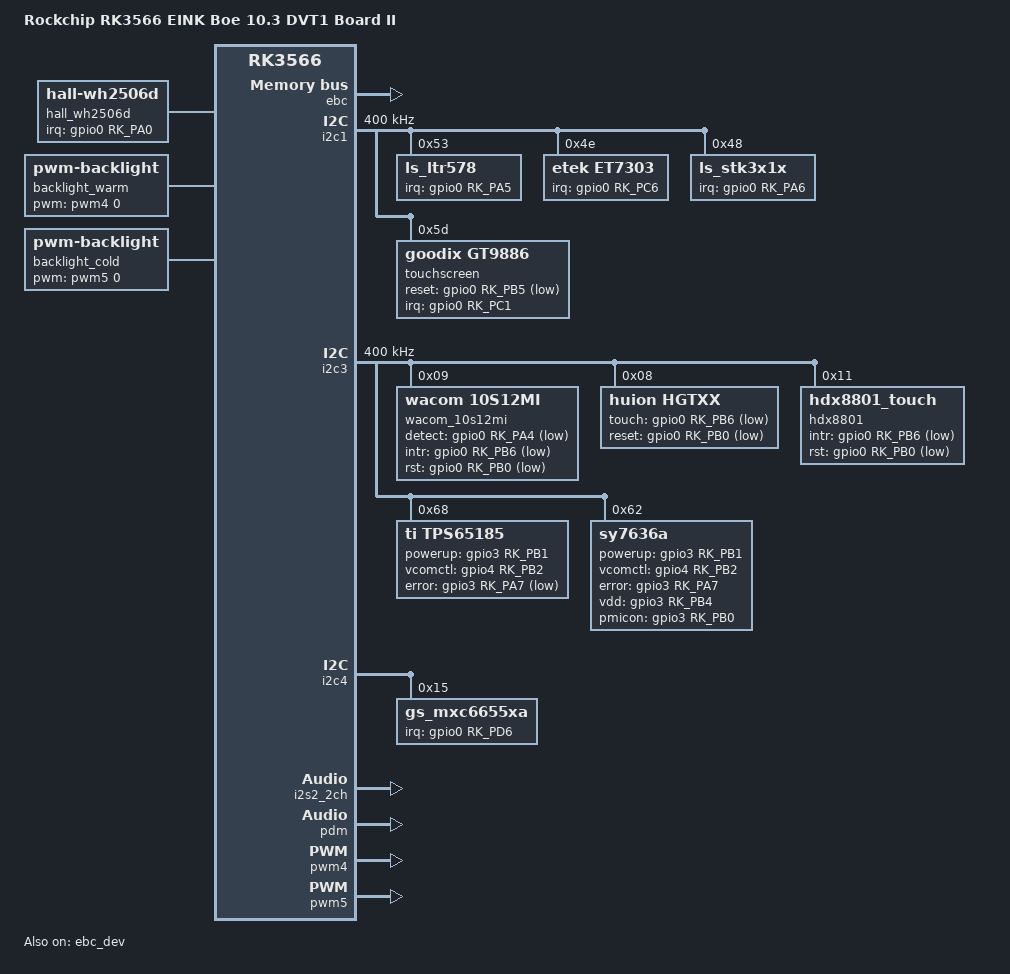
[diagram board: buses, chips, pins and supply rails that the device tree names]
// SPDX-License-Identifier: (GPL-2.0+ OR MIT)
/*
 * Lenovo SP101FU / Lenovo Smart Paper / Louvre candidate DTS.
 *
 * This source is derived from the live SP101FU FDT and the public Rockchip
 * rk3566-rk817-eink-w103 baseline. It deliberately excludes bootloader-injected
 * runtime state from /chosen, /memory, initrd, serial-number, and MAC-bearing
 * Android bootargs.
 */

#include "rk3566-rk817-eink-w103.dts"

/ {
	model = "Rockchip RK3566 EINK Boe 10.3 DVT1 Board II";
	compatible = "rockchip,rk3566-rk817-eink", "rockchip,rk3566";

	/delete-node/ backlight;
	/delete-node/ hall-mh248;
	/delete-node/ vcc-tp-regulator;

	charge-animation {
		rockchip,auto-wakeup-interval = <10>;
	};

	chosen {
		/delete-property/ bootargs;
	};

	adc-keys {
		status = "disabled";
	};

	gpio-leds {
		status = "okay";
		/delete-node/ led@2;

		led-r {
			gpios = <&gpio2 RK_PC0 GPIO_ACTIVE_HIGH>;
			linux,default-trigger = "battery-charging";
			label = "led_r";
			retain-state-suspended;
		};
	};

	hall_wh2506d: hall-wh2506d {
		status = "okay";
		compatible = "hall-wh2506d";
		pinctrl-names = "default";
		pinctrl-0 = <&hall_irq_gpio>;
		irq-gpio = <&gpio0 RK_PA0 IRQ_TYPE_EDGE_BOTH>;
		hall-active = <1>;
	};

	bt_sound: bt-sound {
		status = "okay";
		compatible = "simple-audio-card";
		simple-audio-card,format = "dsp_b";
		simple-audio-card,bitclock-inversion = <1>;
		simple-audio-card,mclk-fs = <256>;
		simple-audio-card,name = "rockchip,bt";

		simple-audio-card,cpu {
			sound-dai = <&i2s2_2ch>;
		};

		sound2_master: simple-audio-card,codec {
			sound-dai = <&bt_sco>;
		};
	};

	bt_sco: bt-sco {
		status = "okay";
		compatible = "delta,dfbmcs320";
		#sound-dai-cells = <0>;
	};

	pdm_mic_array: pdm-mic-array {
		status = "okay";
		compatible = "simple-audio-card";
		simple-audio-card,name = "rockchip,pdm-mic-array";

		simple-audio-card,cpu {
			sound-dai = <&pdm>;
		};

		simple-audio-card,codec {
			sound-dai = <&pdmics>;
		};
	};

	pdmics: dummy-codec {
		status = "okay";
		compatible = "rockchip,dummy-codec";
		#sound-dai-cells = <0>;
	};

	sdio-pwrseq {
		reset-gpios = <&gpio0 RK_PD3 GPIO_ACTIVE_LOW>;
	};

	wireless-wlan {
		rockchip,grf = <&grf>;
		/delete-property/ wifi_chip_type;
		pinctrl-0 = <&wifi_gpio>;
		WIFI,vbat_gpio = <&gpio0 RK_PD5 GPIO_ACTIVE_HIGH>;
		WIFI,host_wake_irq = <&gpio0 RK_PC5 GPIO_ACTIVE_HIGH>;
		status = "okay";
	};

	wireless-bluetooth {
		/delete-property/ wifi-bt-power-toggle;
		uart_rts_gpios = <&gpio2 RK_PB5 GPIO_ACTIVE_LOW>;
		pinctrl-0 = <&uart1m0_rtsn>,
			    <&bt_reset_gpio>,
			    <&bt_wake_gpio>,
			    <&bt_irq_gpio>;
		pinctrl-1 = <&uart1_gpios>;
		BT,reset_gpio = <&gpio0 RK_PC4 GPIO_ACTIVE_HIGH>;
		BT,wake_gpio = <&gpio0 RK_PD4 GPIO_ACTIVE_HIGH>;
		BT,wake_host_irq = <&gpio0 RK_PC3 GPIO_ACTIVE_HIGH>;
		status = "okay";
	};

	backlight_warm: backlight-warm {
		status = "okay";
		compatible = "pwm-backlight";
		pwms = <&pwm4 0 25000 0>;
		brightness-levels = <0 9 18 60 100 100 100 100 101 101 101 101 101 101 102 102 102 102 103 103 103 103 104 104 105 105 105 105 106 107 108 109 110 111 112 114 116 118 120 122 124 126 129 131 134 136 139 141 144 146 149 151 154 156 158 160 162 164 166 169 173 176 180 183 187 190 194 198 202 206 210 224 238 252 266 280 294 299 305 310 316 321 327 336 346 356 366 375 385 394 403 412 421 430 440 451 463 475 487 498 510 523 537 550 564 577 591 604 618 631 645 658 672 688 705 721 738 754 771 796 822 847 873 898 924 943 962 981 1000 1019 1038 1075 1113 1150 1188 1225 1263 1316 1370 1423 1477 1530 1584 1611 1639 1672 1695 1722 1750 1794 1839 1883 1927 1972 2016 2068 2120 2172 2224 2276 2328 2436 2545 2653 2761 2869 2978 3053 3129 3205 3281 3356 3432 3485 3539 3592 3646 3700 3754 3838 3922 4006 4091 4175 4260 4414 4568 4722 4876 5030 5184 5393 5603 5813 6023 6232 6442 6442>;
		default-brightness-level = <0>;
	};

	backlight_cold: backlight-cold {
		status = "okay";
		compatible = "pwm-backlight";
		pwms = <&pwm5 0 25000 0>;
		brightness-levels = <0 9 18 60 100 100 100 100 101 101 101 101 101 101 102 102 102 102 103 103 103 103 104 104 105 105 106 106 107 107 108 108 109 109 110 112 115 117 120 122 125 123 132 136 140 143 147 152 157 162 167 172 177 183 189 195 201 207 213 222 232 241 251 260 270 278 286 294 302 310 318 325 332 339 346 353 360 368 377 386 395 403 412 422 432 441 451 461 471 482 493 504 515 526 537 549 562 574 587 599 612 627 643 658 674 689 705 721 737 753 769 785 775 801 825 850 874 899 923 948 966 984 1002 1020 1038 1056 1086 1116 1146 1176 1206 1236 1270 1304 1341 1372 1406 1440 1475 1510 1545 1580 1615 1650 1678 1707 1735 1764 1792 1821 1870 1920 1969 2019 2068 2118 2159 2200 2241 2282 2323 2364 2452 2540 2628 2716 2804 2892 2955 3019 3083 3147 3210 3274 3343 3413 3482 3551 3620 3690 3762 3834 3906 3978 4050 4122 4254 4386 4518 4650 4782 4914 5090 5266 5442 5618 5794 5970 6216 6463 6709 6956 7202 7449 7674 7900 8125 8351 8576 8802 9101 9401 9701 10001 10300 10600 10600>;
		default-brightness-level = <0>;
	};
};

&ebc {
	assigned-clocks = <&cru CPLL_333M>, <&cru DCLK_EBC>;
	assigned-clock-rates = <34000000>, <34000000>;
	status = "okay";
};

&ebc_dev {
	pmic = <&sy7636a>;
	status = "okay";

	panel,width = <1872>;
	panel,height = <1404>;
	panel,vir_width = <1872>;
	panel,vir_height = <1404>;
	panel,sdck = <34000000>;
	panel,lsl = <18>;
	panel,lbl = <17>;
	panel,ldl = <234>;
	panel,lel = <15>;
	panel,gdck-sta = <34>;
	panel,lgonl = <192>;
	panel,fsl = <1>;
	panel,fbl = <4>;
	panel,fdl = <1404>;
	panel,fel = <1>;
	panel,mirror = <1>;
	panel,panel_16bit = <1>;
	panel,panel_color = <0>;
	panel,width-mm = <210>;
	panel,height-mm = <157>;
	panel,dpi = <220>;
	panel,vcom-mv = <1670>;
};

&i2c1 {
	status = "okay";
	clock-frequency = <400000>;
	/delete-node/ wacom@9;

	ls_ltr578: light@53 {
		status = "okay";
		compatible = "ls_ltr578";
		reg = <0x53>;
		type = <SENSOR_TYPE_LIGHT>;
		pinctrl-names = "default";
		pinctrl-0 = <&ltr578_irq_gpio>;
		irq-gpio = <&gpio0 RK_PA5 IRQ_TYPE_LEVEL_LOW>;
		irq_enable = <0>;
		poll_delay_ms = <100>;
		power-off-in-suspend = <1>;
	};

	aw9610x_sar: pressure@12 {
		status = "disabled";
		compatible = "awinic,aw9610x_sar";
		reg = <0x12>;
		pinctrl-names = "default";
		pinctrl-0 = <&aw9610x_irq_gpio>;
		irq-gpio = <&gpio0 RK_PC7 IRQ_TYPE_LEVEL_LOW>;
		aw9610x,using-firmware;
		channel_use_flag = <0x1f>;
		sar-num = <0>;
	};

	et7303: et7303@4e {
		status = "okay";
		compatible = "etek,et7303";
		reg = <0x4e>;
		interrupt-parent = <&gpio0>;
		interrupts = <RK_PC6 IRQ_TYPE_LEVEL_LOW>;
		pinctrl-names = "default";
		pinctrl-0 = <&et7303_int>;

		connector {
			data-role = "device";
			power-role = "sink";
			try-power-role = "sink";
			sink-pdos = <0x040190c8>;
			op-sink-microwatt = <10000000>;
		};
	};

	ls_stk3x1x: light@48 {
		status = "okay";
		compatible = "ls_stk3x1x";
		reg = <0x48>;
		type = <SENSOR_TYPE_LIGHT>;
		pinctrl-names = "default";
		pinctrl-0 = <&stk3x1x_irq_gpio>;
		irq-gpio = <&gpio0 RK_PA6 IRQ_TYPE_LEVEL_LOW>;
		irq_enable = <0>;
		als_threshold_high = <100>;
		als_threshold_low = <10>;
		als_ctrl_gain = <2>;
		poll_delay_ms = <150>;
		power-off-in-suspend = <1>;
	};

	touchscreen: goodix-gtx8@5d {
		compatible = "goodix,gt9886";
		reg = <0x5d>;
		status = "okay";
		pinctrl-names = "default";
		pinctrl-0 = <&tp_gpio>;
		goodix,reset-gpio = <&gpio0 RK_PB5 GPIO_ACTIVE_LOW>;
		goodix,irq-gpio = <&gpio0 RK_PC1 IRQ_TYPE_LEVEL_LOW>;
		goodix,irq-flags = <IRQ_TYPE_EDGE_FALLING>;
		goodix,panel-max-x = <1404>;
		goodix,panel-max-y = <1872>;
		goodix,panel-max-w = <255>;
		goodix,x2x;
		tp-support-wakeup;
	};
};

&i2c3 {
	status = "okay";
	clock-frequency = <400000>;
	pinctrl-names = "default";
	pinctrl-0 = <&i2c3m1_xfer>;

	wacom_10s12mi: wacom@9 {
		status = "okay";
		compatible = "wacom,10S12MI";
		reg = <0x09>;
		hid-descr-addr = <1>;
		pinctrl-names = "default";
		pinctrl-0 = <&emr_gpio>;
		gpio_detect = <&gpio0 RK_PA4 GPIO_ACTIVE_LOW>;
		gpio_intr = <&gpio0 RK_PB6 GPIO_ACTIVE_LOW>;
		gpio_rst = <&gpio0 RK_PB0 GPIO_ACTIVE_LOW>;
		revert_x = <1>;
		revert_y = <1>;
		xy_exchange = <0>;
		wacom-support-wakeup;
	};

	huion: huion@8 {
		status = "okay";
		compatible = "huion,hgtxx";
		reg = <0x08>;
		pinctrl-names = "default";
		pinctrl-0 = <&emr_gpio>;
		interrupt-parent = <&gpio0>;
		touch-gpio = <&gpio0 RK_PB6 GPIO_ACTIVE_LOW>;
		reset-gpio = <&gpio0 RK_PB0 GPIO_ACTIVE_LOW>;
		huion,tp-size = <101>;
		huion,max-x = <1404>;
		huion,max-y = <1872>;
		huion,configfile-num = <1>;
		revert_x = <1>;
		revert_y = <1>;
		xy_exchange = <0>;
	};

	hdx8801: hdx8801@11 {
		status = "okay";
		compatible = "hdx8801_touch";
		reg = <0x11>;
		pinctrl-names = "default";
		pinctrl-0 = <&emr_gpio>;
		gpio_intr = <&gpio0 RK_PB6 GPIO_ACTIVE_LOW>;
		gpio_rst = <&gpio0 RK_PB0 GPIO_ACTIVE_LOW>;
		revert_x = <0>;
		revert_y = <1>;
		xy_exchange = <0>;
	};

	tps65185@68 {
		status = "okay";
		compatible = "ti,tps65185";
		reg = <0x68>;
		pinctrl-names = "default";
		pinctrl-0 = <&tps65185_gpio>;
		/delete-property/ wakeup-gpios;
		/delete-property/ int-gpios;
		/delete-property/ poweren-gpios;
		powerup-gpios = <&gpio3 RK_PB1 GPIO_ACTIVE_HIGH>;
		vcomctl-gpios = <&gpio4 RK_PB2 GPIO_ACTIVE_HIGH>;
		error-gpios = <&gpio3 RK_PA7 GPIO_ACTIVE_LOW>;
	};

	sy7636a: sy7636a@62 {
		status = "okay";
		compatible = "sy7636a";
		reg = <0x62>;
		pinctrl-names = "default";
		pinctrl-0 = <&tps65185_gpio>;
		powerup-gpios = <&gpio3 RK_PB1 GPIO_ACTIVE_HIGH>;
		vcomctl-gpios = <&gpio4 RK_PB2 GPIO_ACTIVE_HIGH>;
		error-gpios = <&gpio3 RK_PA7 GPIO_ACTIVE_HIGH>;
		vdd-gpios = <&gpio3 RK_PB4 GPIO_ACTIVE_HIGH>;
		pmicon-gpios = <&gpio3 RK_PB0 GPIO_ACTIVE_HIGH>;
	};
};

&i2c4 {
	status = "okay";

	gs_mxc6655xa: gsensor@15 {
		status = "okay";
		compatible = "gs_mxc6655xa";
		reg = <0x15>;
		pinctrl-names = "default";
		pinctrl-0 = <&mxc6655xa_irq_gpio>;
		irq-gpio = <&gpio0 RK_PD6 IRQ_TYPE_LEVEL_LOW>;
		irq_enable = <0>;
		wakeup-source;
		poll_delay_ms = <20>;
		type = <SENSOR_TYPE_ACCEL>;
		power-off-in-suspend = <1>;
		layout = <8>;
	};
};

&i2c5 {
	status = "disabled";
	/delete-node/ sensor@4c;
	/delete-node/ tsc@24;
};

&spi2 {
	status = "disabled";
};

&csi2_dphy_hw {
	status = "disabled";
};

&csi2_dphy0 {
	status = "disabled";
};

&csi2_dphy1 {
	status = "disabled";
};

&csi2_dphy2 {
	status = "disabled";
};

&mipi_csi2 {
	status = "disabled";
};

&rkcif {
	status = "disabled";
};

&rkcif_mmu {
	status = "disabled";
};

&rkcif_dvp {
	status = "disabled";
};

&rkcif_dvp_sditf {
	status = "disabled";
};

&rkcif_mipi_lvds {
	status = "disabled";
};

&rkcif_mipi_lvds_sditf {
	status = "disabled";
};

&rkisp {
	status = "disabled";
};

&rkisp_mmu {
	status = "disabled";
};

&rkisp_vir0 {
	status = "disabled";
};

&rkisp_vir1 {
	status = "disabled";
};

&i2s2_2ch {
	status = "okay";
	rockchip,clk-trcm = <1>;
	pinctrl-names = "default";
	pinctrl-0 = <&i2s2m0_sclktx
		     &i2s2m0_lrcktx
		     &i2s2m0_sdi
		     &i2s2m0_sdo>;
};

&pdm {
	status = "okay";
	pinctrl-names = "default";
	pinctrl-0 = <&pdmm0_clk
		     &pdmm0_clk1
		     &pdmm0_sdi0
		     &pdmm0_sdi1>;
	rockchip,path-map = <1 0 2 3>;
};

&pinctrl {
	/delete-node/ tsc;
	/delete-node/ vcc-tp;

	tps_pmic {
		tps65185-gpio {
			rockchip,pins =
				<4 RK_PB2 RK_FUNC_GPIO &pcfg_pull_up>,
				<3 RK_PA7 RK_FUNC_GPIO &pcfg_pull_up>,
				<3 RK_PB0 RK_FUNC_GPIO &pcfg_pull_up>,
				<3 RK_PB1 RK_FUNC_GPIO &pcfg_pull_up>,
				<3 RK_PB4 RK_FUNC_GPIO &pcfg_pull_up>;
		};
	};

	sdio-pwrseq {
		wifi-enable-h {
			rockchip,pins = <0 RK_PD3 RK_FUNC_GPIO &pcfg_pull_none>;
		};
	};

	wireless-wlan {
		wifi_gpio: wifi-gpio {
			rockchip,pins =
				<0 RK_PC5 RK_FUNC_GPIO &pcfg_pull_up>,
				<0 RK_PD5 RK_FUNC_GPIO &pcfg_pull_none>;
		};
	};

	wireless-bluetooth {
		uart1-gpios {
			rockchip,pins = <2 RK_PB5 RK_FUNC_GPIO &pcfg_pull_none>;
		};

		bt-reset-gpio {
			rockchip,pins = <0 RK_PC4 RK_FUNC_GPIO &pcfg_pull_none>;
		};

		bt-wake-gpio {
			rockchip,pins = <0 RK_PD4 RK_FUNC_GPIO &pcfg_pull_none>;
		};

		bt-irq-gpio {
			rockchip,pins = <0 RK_PC3 RK_FUNC_GPIO &pcfg_pull_up>;
		};
	};

	mxc6655xa {
		mxc6655xa_irq_gpio: mxc6655xa-irq-gpio {
			rockchip,pins = <0 RK_PD6 RK_FUNC_GPIO &pcfg_pull_none>;
		};
	};

	sensors {
		hall_irq_gpio: hall-irq-gpio {
			rockchip,pins = <0 RK_PA0 RK_FUNC_GPIO &pcfg_pull_up>;
		};

		ltr578_irq_gpio: ltr578-irq-gpio {
			rockchip,pins = <0 RK_PA5 RK_FUNC_GPIO &pcfg_pull_up>;
		};

		stk3x1x_irq_gpio: stk3x1x-irq-gpio {
			rockchip,pins = <0 RK_PA6 RK_FUNC_GPIO &pcfg_pull_up>;
		};

		aw9610x_irq_gpio: aw9610x-irq-gpio {
			rockchip,pins = <0 RK_PC7 RK_FUNC_GPIO &pcfg_pull_up>;
		};
	};

	typec {
		et7303_int: et7303-int {
			rockchip,pins = <0 RK_PC6 RK_FUNC_GPIO &pcfg_pull_none>;
		};
	};

	wacom {
		emr_gpio: emr-gpio {
			rockchip,pins =
				<0 RK_PA4 RK_FUNC_GPIO &pcfg_pull_up>,
				<0 RK_PB6 RK_FUNC_GPIO &pcfg_pull_up>,
				<0 RK_PB0 RK_FUNC_GPIO &pcfg_pull_up>;
		};
	};

	goodix {
		tp_gpio: tp-gpio {
			rockchip,pins =
				<0 RK_PB5 RK_FUNC_GPIO &pcfg_pull_up>,
				<0 RK_PC1 RK_FUNC_GPIO &pcfg_pull_up>;
		};
	};
};

&pwm0 {
	status = "disabled";
};

&pwm4 {
	status = "okay";
};

&pwm5 {
	status = "okay";
};
